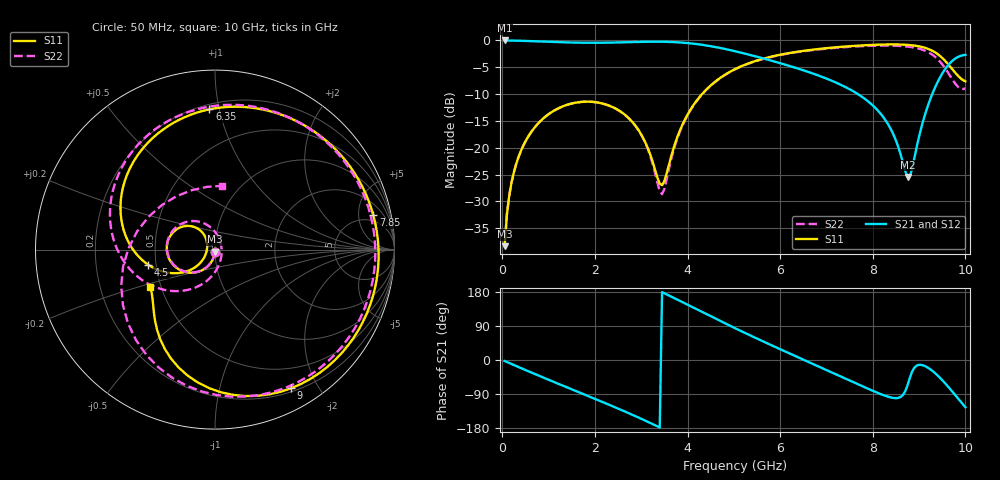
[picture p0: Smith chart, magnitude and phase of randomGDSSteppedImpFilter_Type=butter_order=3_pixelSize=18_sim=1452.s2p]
! freq	dB(S11)	phase(S11)	dB(S12)	phase(S12)
!  dB(S21)	phase(S21)	dB(S22)	phase(S22)
!S-par simulation data
#  GHz  S  DB  R 50
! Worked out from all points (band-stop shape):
!   200 points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, 50 MHz to 10 GHz, reference 50 ohm
!   highest |S21| = -0.01 dB at 50 MHz (marker M1); lowest = -25.4 dB at 8.75 GHz (marker M2)
!   |S21| within 3 dB of the highest: start of sweep to 5.485 GHz; 9.861 GHz to end of sweep
!   lowest |S11| = -38.3 dB at 50 MHz (marker M3), VSWR 1.02, Z = 49.9 - j1.21 ohm
!   |S11| at or under -10 dB: start of sweep to 4.313 GHz
!   |S22| runs from -38.3 to -1.0 dB; largest |S21 - S12| = 0
!   S11 on the Smith chart (normalised r, x): 50 MHz: 1.00, -0.02; 4.5 GHz: 0.45, -0.09; 6.35 GHz: 0.23, +0.93; 7.85 GHz: 3.66, +7.57; 9 GHz: 0.24, -1.66; 10 GHz: 0.44, -0.22
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0.05  -38.33 -92.2  -0.01 -2.7  -0.01 -2.7  -38.33 -92.3
0.2  -26.45 -100.8  -0.03 -10.6  -0.03 -10.6  -26.45 -101.0
0.5  -18.82 -116.7  -0.09 -26.4  -0.09 -26.4  -18.82 -117.1
1.15  -12.92 -149.9  -0.30 -59.8  -0.30 -59.8  -12.92 -151.1
1.75  -11.43 -179.2  -0.43 -89.9  -0.43 -89.9  -11.42 178.0
2.8  -15.11 133.4  -0.31 -144.1  -0.31 -144.1  -15.14 118.3
3.4  -26.69 159.8  -0.24 -178.0  -0.24 -178.0  -28.10 26.8
3.95  -14.63 -141.1  -0.45 149.0  -0.45 149.0  -14.78 -105.3
4.5  -8.38 -167.1  -1.07 115.4  -1.07 115.4  -8.44 -145.0
5.05  -5.25 162.5  -2.06 82.5  -2.06 82.5  -5.29 -179.9
5.65  -3.37 129.7  -3.39 48.0  -3.39 48.0  -3.42 144.3
6.35  -2.14 92.3  -5.15 9.1  -5.15 9.1  -2.20 103.6
6.7  -1.73 73.8  -6.15 -10.1  -6.15 -10.1  -1.80 83.2
7.25  -1.24 44.8  -8.02 -40.4  -8.02 -40.4  -1.35 50.3
7.85  -0.89 12.3  -11.03 -73.3  -11.03 -73.3  -1.04 12.5
8.35  -0.75 -16.6  -15.91 -97.6  -15.91 -97.6  -0.96 -21.8
8.75  -0.83 -42.6  -25.42 -66.8  -25.42 -66.8  -1.15 -53.7
9  -1.10 -61.3  -17.89 -12.7  -17.89 -12.7  -1.54 -77.9
9.25  -1.77 -83.0  -10.75 -25.2  -10.75 -25.2  -2.46 -108.3
9.55  -3.69 -112.1  -5.50 -59.7  -5.50 -59.7  -5.03 -158.9
9.8  -6.21 -134.1  -3.28 -95.4  -3.28 -95.4  -8.26 140.1
10  -7.62 -150.3  -2.69 -124.6  -2.69 -124.6  -8.94 83.9
